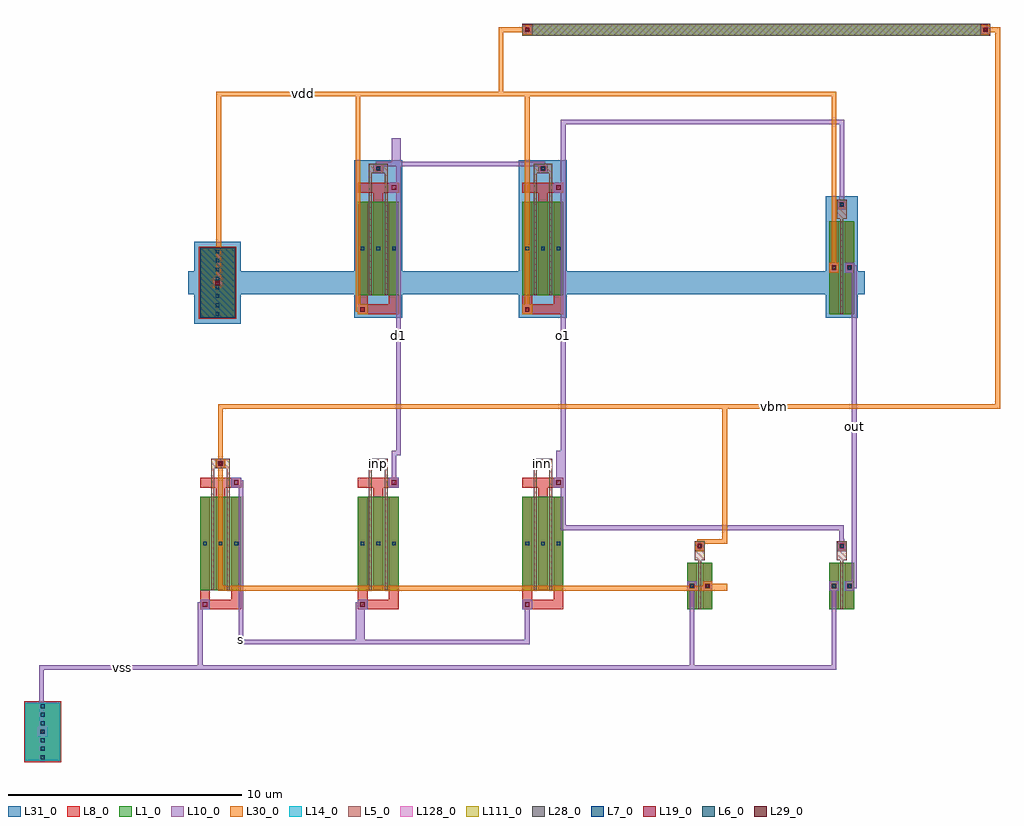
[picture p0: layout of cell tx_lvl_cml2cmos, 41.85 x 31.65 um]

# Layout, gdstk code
import gdstk
lib = gdstk.Library(unit=1e-6, precision=1e-09)
def R(c, l, rs):  # rectangles x0, y0, x1, y1
    for r in rs: c.add(gdstk.rectangle(r[:2], r[2:], *l))
def A(c, l, x, y, w, h, nx, ny, dx, dy):  # array of equal rectangles
    R(c, l, [(x+i*dx, y+j*dy, x+i*dx+w, y+j*dy+h) for i in range(nx) for j in range(ny)])
L1_0 = (1, 0)
L5_0 = (5, 0)
L6_0 = (6, 0)
L7_0 = (7, 0)
L8_0 = (8, 0)
L10_0 = (10, 0)
L14_0 = (14, 0)
L19_0 = (19, 0)
L28_0 = (28, 0)
L29_0 = (29, 0)
L30_0 = (30, 0)
L31_0 = (31, 0)
L111_0 = (111, 0)
L128_0 = (128, 0)

tx_lvl_cml2cmos_xmn1__co = lib.new_cell('tx_lvl_cml2cmos_XMN1__core')
R(tx_lvl_cml2cmos_xmn1__co, L1_0, [(0,0.82,1.76,4.82)])
R(tx_lvl_cml2cmos_xmn1__co, L5_0, [(0.48,0.82,0.61,6.04), (1.15,0.82,1.28,6.04), (0.48,6.04,1.28,6.46)])
A(tx_lvl_cml2cmos_xmn1__co, L6_0, 0.13, 2.74, 0.16, 0.16, 3, 1, 0.67, 0)
R(tx_lvl_cml2cmos_xmn1__co, L6_0, [(0.8,6.17,0.96,6.33)])
A(tx_lvl_cml2cmos_xmn1__co, L8_0, 0, 0.82, 0.42, 4, 3, 1, 0.67, 0)
R(tx_lvl_cml2cmos_xmn1__co, L8_0, [(0,0,1.76,0.42), (0,0.42,0.42,0.82), (1.34,0.42,1.76,0.82), (0.67,4.82,1.09,5.22), (0,5.22,1.76,5.64), (0.67,6.04,1.09,6.46)])

xmn1__tx_lvl_cml2cmos_xm = lib.new_cell('XMN1__tx_lvl_cml2cmos_XMN1')
xmn1__tx_lvl_cml2cmos_xm.add(gdstk.Reference(tx_lvl_cml2cmos_xmn1__co, (0,0)))

tx_lvl_cml2cmos_xmn2__co = lib.new_cell('tx_lvl_cml2cmos_XMN2__core')
R(tx_lvl_cml2cmos_xmn2__co, L1_0, [(0,0.82,1.76,4.82)])
R(tx_lvl_cml2cmos_xmn2__co, L5_0, [(0.48,0.82,0.61,6.04), (1.15,0.82,1.28,6.04), (0.48,6.04,1.28,6.46)])
A(tx_lvl_cml2cmos_xmn2__co, L6_0, 0.13, 2.74, 0.16, 0.16, 3, 1, 0.67, 0)
R(tx_lvl_cml2cmos_xmn2__co, L6_0, [(0.8,6.17,0.96,6.33)])
A(tx_lvl_cml2cmos_xmn2__co, L8_0, 0, 0.82, 0.42, 4, 3, 1, 0.67, 0)
R(tx_lvl_cml2cmos_xmn2__co, L8_0, [(0,0,1.76,0.42), (0,0.42,0.42,0.82), (1.34,0.42,1.76,0.82), (0.67,4.82,1.09,5.22), (0,5.22,1.76,5.64), (0.67,6.04,1.09,6.46)])

xmn2__tx_lvl_cml2cmos_xm = lib.new_cell('XMN2__tx_lvl_cml2cmos_XMN2')
xmn2__tx_lvl_cml2cmos_xm.add(gdstk.Reference(tx_lvl_cml2cmos_xmn2__co, (0,0)))

tx_lvl_cml2cmos_xmp1__co = lib.new_cell('tx_lvl_cml2cmos_XMP1__core')
R(tx_lvl_cml2cmos_xmp1__co, L1_0, [(0,0.82,1.76,4.82)])
R(tx_lvl_cml2cmos_xmp1__co, L5_0, [(0.48,0.82,0.61,6.04), (1.15,0.82,1.28,6.04), (0.48,6.04,1.28,6.46)])
A(tx_lvl_cml2cmos_xmp1__co, L6_0, 0.13, 2.74, 0.16, 0.16, 3, 1, 0.67, 0)
R(tx_lvl_cml2cmos_xmp1__co, L6_0, [(0.8,6.17,0.96,6.33)])
A(tx_lvl_cml2cmos_xmp1__co, L8_0, 0, 0.82, 0.42, 4, 3, 1, 0.67, 0)
R(tx_lvl_cml2cmos_xmp1__co, L8_0, [(0,0,1.76,0.42), (0,0.42,0.42,0.82), (1.34,0.42,1.76,0.82), (0.67,4.82,1.09,5.22), (0,5.22,1.76,5.64), (0.67,6.04,1.09,6.46)])
R(tx_lvl_cml2cmos_xmp1__co, L31_0, [(-0.15,-0.15,1.91,6.61)])

xmp1__tx_lvl_cml2cmos_xm = lib.new_cell('XMP1__tx_lvl_cml2cmos_XMP1')
xmp1__tx_lvl_cml2cmos_xm.add(gdstk.Reference(tx_lvl_cml2cmos_xmp1__co, (0,0)))

tx_lvl_cml2cmos_xmp2__co = lib.new_cell('tx_lvl_cml2cmos_XMP2__core')
R(tx_lvl_cml2cmos_xmp2__co, L1_0, [(0,0.82,1.76,4.82)])
R(tx_lvl_cml2cmos_xmp2__co, L5_0, [(0.48,0.82,0.61,6.04), (1.15,0.82,1.28,6.04), (0.48,6.04,1.28,6.46)])
A(tx_lvl_cml2cmos_xmp2__co, L6_0, 0.13, 2.74, 0.16, 0.16, 3, 1, 0.67, 0)
R(tx_lvl_cml2cmos_xmp2__co, L6_0, [(0.8,6.17,0.96,6.33)])
A(tx_lvl_cml2cmos_xmp2__co, L8_0, 0, 0.82, 0.42, 4, 3, 1, 0.67, 0)
R(tx_lvl_cml2cmos_xmp2__co, L8_0, [(0,0,1.76,0.42), (0,0.42,0.42,0.82), (1.34,0.42,1.76,0.82), (0.67,4.82,1.09,5.22), (0,5.22,1.76,5.64), (0.67,6.04,1.09,6.46)])
R(tx_lvl_cml2cmos_xmp2__co, L31_0, [(-0.15,-0.15,1.91,6.61)])

xmp2__tx_lvl_cml2cmos_xm = lib.new_cell('XMP2__tx_lvl_cml2cmos_XMP2')
xmp2__tx_lvl_cml2cmos_xm.add(gdstk.Reference(tx_lvl_cml2cmos_xmp2__co, (0,0)))

tx_lvl_cml2cmos_xmnt__co = lib.new_cell('tx_lvl_cml2cmos_XMNt__core')
R(tx_lvl_cml2cmos_xmnt__co, L1_0, [(0,0.82,1.76,4.82)])
R(tx_lvl_cml2cmos_xmnt__co, L5_0, [(0.48,0.82,0.61,6.04), (1.15,0.82,1.28,6.04), (0.48,6.04,1.28,6.46)])
A(tx_lvl_cml2cmos_xmnt__co, L6_0, 0.13, 2.74, 0.16, 0.16, 3, 1, 0.67, 0)
R(tx_lvl_cml2cmos_xmnt__co, L6_0, [(0.8,6.17,0.96,6.33)])
A(tx_lvl_cml2cmos_xmnt__co, L8_0, 0, 0.82, 0.42, 4, 3, 1, 0.67, 0)
R(tx_lvl_cml2cmos_xmnt__co, L8_0, [(0,0,1.76,0.42), (0,0.42,0.42,0.82), (1.34,0.42,1.76,0.82), (0.67,4.82,1.09,5.22), (0,5.22,1.76,5.64), (0.67,6.04,1.09,6.46)])

xmnt__tx_lvl_cml2cmos_xm = lib.new_cell('XMNt__tx_lvl_cml2cmos_XMNt')
xmnt__tx_lvl_cml2cmos_xm.add(gdstk.Reference(tx_lvl_cml2cmos_xmnt__co, (0,0)))

tx_lvl_cml2cmos_xmnb__co = lib.new_cell('tx_lvl_cml2cmos_XMNb__core')
R(tx_lvl_cml2cmos_xmnb__co, L1_0, [(0,0,1.09,2)])
R(tx_lvl_cml2cmos_xmnb__co, L5_0, [(0.48,0,0.61,2), (0.48,2,0.61,2.1), (0.335,2.1,0.755,2.92)])
R(tx_lvl_cml2cmos_xmnb__co, L6_0, [(0.13,0.92,0.29,1.08), (0.8,0.92,0.96,1.08), (0.465,2.63,0.625,2.79)])
R(tx_lvl_cml2cmos_xmnb__co, L8_0, [(0,0,0.42,2), (0.67,0,1.09,2), (0.335,2.5,0.755,2.92)])

xmnb__tx_lvl_cml2cmos_xm = lib.new_cell('XMNb__tx_lvl_cml2cmos_XMNb')
xmnb__tx_lvl_cml2cmos_xm.add(gdstk.Reference(tx_lvl_cml2cmos_xmnb__co, (0,0)))

tx_lvl_cml2cmos_xrbm__co = lib.new_cell('tx_lvl_cml2cmos_XRbm__core')
R(tx_lvl_cml2cmos_xrbm__co, L5_0, [(0,0,0.42,0.5), (19.65,0,20.07,0.5)])
R(tx_lvl_cml2cmos_xrbm__co, L6_0, [(0.13,0.17,0.29,0.33), (19.78,0.17,19.94,0.33)])
R(tx_lvl_cml2cmos_xrbm__co, L8_0, [(0,0,0.42,0.5), (19.65,0,20.07,0.5)])
R(tx_lvl_cml2cmos_xrbm__co, L14_0, [(0.42,0,19.65,0.5)])
R(tx_lvl_cml2cmos_xrbm__co, L28_0, [(0.42,0,19.65,0.5)])
R(tx_lvl_cml2cmos_xrbm__co, L111_0, [(0.42,0,19.65,0.5)])
R(tx_lvl_cml2cmos_xrbm__co, L128_0, [(0.42,0,19.65,0.5)])

xrbm__tx_lvl_cml2cmos_xr = lib.new_cell('XRbm__tx_lvl_cml2cmos_XRbm')
xrbm__tx_lvl_cml2cmos_xr.add(gdstk.Reference(tx_lvl_cml2cmos_xrbm__co, (0,0)))

tx_lvl_cml2cmos_xmp3__co = lib.new_cell('tx_lvl_cml2cmos_XMP3__core')
R(tx_lvl_cml2cmos_xmp3__co, L1_0, [(0,0,1.09,4)])
R(tx_lvl_cml2cmos_xmp3__co, L5_0, [(0.48,0,0.61,4), (0.48,4,0.61,4.1), (0.335,4.1,0.755,4.92)])
R(tx_lvl_cml2cmos_xmp3__co, L6_0, [(0.13,1.92,0.29,2.08), (0.8,1.92,0.96,2.08), (0.465,4.63,0.625,4.79)])
R(tx_lvl_cml2cmos_xmp3__co, L8_0, [(0,0,0.42,4), (0.67,0,1.09,4), (0.335,4.5,0.755,4.92)])
R(tx_lvl_cml2cmos_xmp3__co, L31_0, [(-0.15,-0.15,1.24,5.07)])

xmp3__tx_lvl_cml2cmos_xm = lib.new_cell('XMP3__tx_lvl_cml2cmos_XMP3')
xmp3__tx_lvl_cml2cmos_xm.add(gdstk.Reference(tx_lvl_cml2cmos_xmp3__co, (0,0)))

tx_lvl_cml2cmos_xmn3__co = lib.new_cell('tx_lvl_cml2cmos_XMN3__core')
R(tx_lvl_cml2cmos_xmn3__co, L1_0, [(0,0,1.09,2)])
R(tx_lvl_cml2cmos_xmn3__co, L5_0, [(0.48,0,0.61,2), (0.48,2,0.61,2.1), (0.335,2.1,0.755,2.92)])
R(tx_lvl_cml2cmos_xmn3__co, L6_0, [(0.13,0.92,0.29,1.08), (0.8,0.92,0.96,1.08), (0.465,2.63,0.625,2.79)])
R(tx_lvl_cml2cmos_xmn3__co, L8_0, [(0,0,0.42,2), (0.67,0,1.09,2), (0.335,2.5,0.755,2.92)])

xmn3__tx_lvl_cml2cmos_xm = lib.new_cell('XMN3__tx_lvl_cml2cmos_XMN3')
xmn3__tx_lvl_cml2cmos_xm.add(gdstk.Reference(tx_lvl_cml2cmos_xmn3__co, (0,0)))

tie_vdd__tx_lvl_cml2cmos = lib.new_cell('TIE_VDD__tx_lvl_cml2cmos_tie_vdd')
R(tie_vdd__tx_lvl_cml2cmos, L1_0, [(0,0,1.5,3)])
A(tie_vdd__tx_lvl_cml2cmos, L6_0, 0.67, 0.85, 0.16, 0.16, 1, 4, 0, 0.38)
R(tie_vdd__tx_lvl_cml2cmos, L6_0, [(0.67,0.08,0.83,0.24), (0.67,0.46,0.83,0.62), (0.67,2.38,0.83,2.54), (0.67,2.76,0.83,2.92)])
R(tie_vdd__tx_lvl_cml2cmos, L7_0, [(0,0,1.5,3)])
R(tie_vdd__tx_lvl_cml2cmos, L8_0, [(-0.05,-0.05,1.55,3.05)])
R(tie_vdd__tx_lvl_cml2cmos, L31_0, [(-0.25,-0.25,1.75,3.25)])
tie_vdd__tx_lvl_cml2cmos.add(gdstk.Label('vdd', (0.75,1.5), layer=8, texttype=25))

tie_vss__tx_lvl_cml2cmos = lib.new_cell('TIE_VSS__tx_lvl_cml2cmos_tie_vss')
R(tie_vss__tx_lvl_cml2cmos, L1_0, [(0,0,1.5,2.5)])
A(tie_vss__tx_lvl_cml2cmos, L6_0, 0.67, 0.81, 0.16, 0.16, 1, 3, 0, 0.36)
R(tie_vss__tx_lvl_cml2cmos, L6_0, [(0.67,0.08,0.83,0.24), (0.67,0.44,0.83,0.6), (0.67,1.9,0.83,2.06), (0.67,2.26,0.83,2.42)])
R(tie_vss__tx_lvl_cml2cmos, L8_0, [(-0.05,-0.05,1.55,2.55)])
R(tie_vss__tx_lvl_cml2cmos, L14_0, [(0,0,1.5,2.5)])
tie_vss__tx_lvl_cml2cmos.add(gdstk.Label('vss', (0.75,1.25), layer=8, texttype=25))

tx_lvl_cml2cmos = lib.new_cell('tx_lvl_cml2cmos')
R(tx_lvl_cml2cmos, L8_0, [(1.04,-5.46,1.46,-5.04), (8,0,8.42,0.42), (8,0,8.42,0.42), (8,0,8.42,0.42), (14.76,0,15.18,0.42), (14.76,0,15.18,0.42), (21.82,0,22.24,0.42), (28.88,0.79,29.3,1.21), (29.55,0.79,29.97,1.21), (34.97,0.79,35.39,1.21), (35.64,0.79,36.06,1.21), (29.215,2.5,29.635,2.92), (35.305,2.5,35.725,2.92), (9.34,5.22,9.76,5.64), (16.1,5.22,16.52,5.64), (23.16,5.22,23.58,5.64), (8.67,6.04,9.09,6.46), (8.67,6.04,9.09,6.46), (8.67,6.04,9.09,6.46), (14.76,12.65,15.18,13.07), (14.76,12.65,15.18,13.07), (14.76,12.65,15.18,13.07), (14.76,12.65,15.18,13.07), (21.82,12.65,22.24,13.07), (8.54,13.79,8.96,14.21), (34.97,14.44,35.39,14.86), (35.64,14.44,36.06,14.86), (35.305,17.15,35.725,17.57), (16.1,17.87,16.52,18.29), (16.1,17.87,16.52,18.29), (16.1,17.87,16.52,18.29), (23.16,17.87,23.58,18.29), (23.16,17.87,23.58,18.29), (23.16,17.87,23.58,18.29), (15.43,18.69,15.85,19.11), (22.49,18.69,22.91,19.11), (21.82,24.64,22.24,25.06), (41.47,24.64,41.89,25.06)])
R(tx_lvl_cml2cmos, L10_0, [(1.04,-5.46,1.46,-5.04), (8,0,8.42,0.42), (8,0,8.42,0.42), (8,0,8.42,0.42), (14.76,0,15.18,0.42), (14.76,0,15.18,0.42), (21.82,0,22.24,0.42), (28.88,0.79,29.3,1.21), (29.55,0.79,29.97,1.21), (29.55,0.79,29.97,1.21), (34.97,0.79,35.39,1.21), (35.64,0.79,36.06,1.21), (29.215,2.5,29.635,2.92), (29.215,2.5,29.635,2.92), (35.305,2.5,35.725,2.92), (9.34,5.22,9.76,5.64), (16.1,5.22,16.52,5.64), (23.16,5.22,23.58,5.64), (8.67,6.04,9.09,6.46), (8.67,6.04,9.09,6.46), (8.67,6.04,9.09,6.46), (8.67,6.04,9.09,6.46), (8.67,6.04,9.09,6.46), (8.67,6.04,9.09,6.46), (14.76,12.65,15.18,13.07), (14.76,12.65,15.18,13.07), (14.76,12.65,15.18,13.07), (14.76,12.65,15.18,13.07), (14.76,12.65,15.18,13.07), (14.76,12.65,15.18,13.07), (14.76,12.65,15.18,13.07), (14.76,12.65,15.18,13.07), (21.82,12.65,22.24,13.07), (21.82,12.65,22.24,13.07), (8.54,13.79,8.96,14.21), (8.54,13.79,8.96,14.21), (34.97,14.44,35.39,14.86), (34.97,14.44,35.39,14.86), (35.64,14.44,36.06,14.86), (35.305,17.15,35.725,17.57), (16.1,17.87,16.52,18.29), (16.1,17.87,16.52,18.29), (16.1,17.87,16.52,18.29), (23.16,17.87,23.58,18.29), (23.16,17.87,23.58,18.29), (23.16,17.87,23.58,18.29), (15.43,18.69,15.85,19.11), (22.49,18.69,22.91,19.11), (21.82,24.64,22.24,25.06), (21.82,24.64,22.24,25.06), (41.47,24.64,41.89,25.06), (41.47,24.64,41.89,25.06)])
R(tx_lvl_cml2cmos, L19_0, [(1.155,-5.345,1.345,-5.155), (8.115,0.115,8.305,0.305), (8.115,0.115,8.305,0.305), (8.115,0.115,8.305,0.305), (14.875,0.115,15.065,0.305), (14.875,0.115,15.065,0.305), (21.935,0.115,22.125,0.305), (28.995,0.905,29.185,1.095), (29.665,0.905,29.855,1.095), (35.085,0.905,35.275,1.095), (35.755,0.905,35.945,1.095), (29.33,2.615,29.52,2.805), (35.42,2.615,35.61,2.805), (9.455,5.335,9.645,5.525), (16.215,5.335,16.405,5.525), (23.275,5.335,23.465,5.525), (8.785,6.155,8.975,6.345), (8.785,6.155,8.975,6.345), (8.785,6.155,8.975,6.345), (14.875,12.765,15.065,12.955), (14.875,12.765,15.065,12.955), (14.875,12.765,15.065,12.955), (14.875,12.765,15.065,12.955), (21.935,12.765,22.125,12.955), (8.655,13.905,8.845,14.095), (35.085,14.555,35.275,14.745), (35.755,14.555,35.945,14.745), (35.42,17.265,35.61,17.455), (16.215,17.985,16.405,18.175), (16.215,17.985,16.405,18.175), (16.215,17.985,16.405,18.175), (23.275,17.985,23.465,18.175), (23.275,17.985,23.465,18.175), (23.275,17.985,23.465,18.175), (15.545,18.805,15.735,18.995), (22.605,18.805,22.795,18.995), (21.935,24.755,22.125,24.945), (41.585,24.755,41.775,24.945)])
R(tx_lvl_cml2cmos, L29_0, [(29.665,0.905,29.855,1.095), (29.33,2.615,29.52,2.805), (8.785,6.155,8.975,6.345), (8.785,6.155,8.975,6.345), (8.785,6.155,8.975,6.345), (14.875,12.765,15.065,12.955), (14.875,12.765,15.065,12.955), (14.875,12.765,15.065,12.955), (14.875,12.765,15.065,12.955), (21.935,12.765,22.125,12.955), (8.655,13.905,8.845,14.095), (35.085,14.555,35.275,14.745), (21.935,24.755,22.125,24.945), (41.585,24.755,41.775,24.945)])
R(tx_lvl_cml2cmos, L30_0, [(29.55,0.79,29.97,1.21), (29.215,2.5,29.635,2.92), (8.67,6.04,9.09,6.46), (8.67,6.04,9.09,6.46), (8.67,6.04,9.09,6.46), (14.76,12.65,15.18,13.07), (14.76,12.65,15.18,13.07), (14.76,12.65,15.18,13.07), (14.76,12.65,15.18,13.07), (21.82,12.65,22.24,13.07), (8.54,13.79,8.96,14.21), (34.97,14.44,35.39,14.86), (21.82,24.64,22.24,25.06), (41.47,24.64,41.89,25.06)])
R(tx_lvl_cml2cmos, L31_0, [(7.5,13.5,36.5,14.5)])
tx_lvl_cml2cmos.add(gdstk.FlexPath([(1.25,-5.25),(1.25,-5.05),(1.2,-5.05),(1.2,-2.5),(8.01,-2.5),(8.01,0.21),(8.21,0.21)], 0.2, ends="flush", simple_path=True, layer=10, datatype=0))  # L10_0
tx_lvl_cml2cmos.add(gdstk.FlexPath([(29.09,1),(29.09,-2.5),(8.01,-2.5),(8.01,0.21),(8.21,0.21)], 0.2, ends="flush", simple_path=True, layer=10, datatype=0))  # L10_0
tx_lvl_cml2cmos.add(gdstk.FlexPath([(35.18,1),(35.18,-2.5),(8.01,-2.5),(8.01,0.21),(8.21,0.21)], 0.2, ends="flush", simple_path=True, layer=10, datatype=0))  # L10_0
tx_lvl_cml2cmos.add(gdstk.FlexPath([(14.97,0.21),(14.97,-1.4),(9.75,-1.4),(9.75,5.43),(9.55,5.43)], 0.2, ends="flush", simple_path=True, layer=10, datatype=0))  # L10_0
tx_lvl_cml2cmos.add(gdstk.FlexPath([(22.03,0.21),(22.03,-1.4),(14.77,-1.4),(14.77,0.21),(14.97,0.21)], 0.2, ends="flush", simple_path=True, layer=10, datatype=0))  # L10_0
tx_lvl_cml2cmos.add(gdstk.FlexPath([(16.31,5.43),(16.31,6.7),(16.51,6.7),(16.51,18.08),(16.31,18.08)], 0.2, ends="flush", simple_path=True, layer=10, datatype=0))  # L10_0
tx_lvl_cml2cmos.add(gdstk.FlexPath([(15.64,18.9),(15.64,19.1),(16.31,19.1),(16.31,20.1),(16.51,20.1),(16.51,18.08),(16.31,18.08)], 0.2, ends="flush", simple_path=True, layer=10, datatype=0))  # L10_0
tx_lvl_cml2cmos.add(gdstk.FlexPath([(22.7,18.9),(22.7,19.1),(16.31,19.1),(16.31,20.1),(16.51,20.1),(16.51,18.08),(16.31,18.08)], 0.2, ends="flush", simple_path=True, layer=10, datatype=0))  # L10_0
tx_lvl_cml2cmos.add(gdstk.FlexPath([(23.37,5.43),(23.37,6.7),(23.57,6.7),(23.57,18.08),(23.37,18.08)], 0.2, ends="flush", simple_path=True, layer=10, datatype=0))  # L10_0
tx_lvl_cml2cmos.add(gdstk.FlexPath([(35.515,2.71),(35.515,2.91),(35.5,2.91),(35.5,3.5),(23.57,3.5),(23.57,18.08),(23.37,18.08)], 0.2, ends="flush", simple_path=True, layer=10, datatype=0))  # L10_0
tx_lvl_cml2cmos.add(gdstk.FlexPath([(35.515,17.36),(35.515,17.56),(35.52,17.56),(35.52,20.9),(23.57,20.9),(23.57,18.08),(23.37,18.08)], 0.2, ends="flush", simple_path=True, layer=10, datatype=0))  # L10_0
tx_lvl_cml2cmos.add(gdstk.FlexPath([(35.85,14.65),(36.05,14.65),(36.05,1),(35.85,1)], 0.2, ends="flush", simple_path=True, layer=10, datatype=0))  # L10_0
tx_lvl_cml2cmos.add(gdstk.FlexPath([(8.75,14),(8.75,14.2),(8.8,14.2),(8.8,22.1),(14.77,22.1),(14.77,12.86),(14.97,12.86)], 0.2, ends="flush", simple_path=True, layer=30, datatype=0))  # L30_0
tx_lvl_cml2cmos.add(gdstk.FlexPath([(22.03,12.86),(22.03,22.1),(14.77,22.1),(14.77,12.86),(14.97,12.86)], 0.2, ends="flush", simple_path=True, layer=30, datatype=0))  # L30_0
tx_lvl_cml2cmos.add(gdstk.FlexPath([(35.18,14.65),(35.18,22.1),(14.77,22.1),(14.77,12.86),(14.97,12.86)], 0.2, ends="flush", simple_path=True, layer=30, datatype=0))  # L30_0
tx_lvl_cml2cmos.add(gdstk.FlexPath([(22.03,24.85),(20.9,24.85),(20.9,22.1),(14.77,22.1),(14.77,12.86),(14.97,12.86)], 0.2, ends="flush", simple_path=True, layer=30, datatype=0))  # L30_0
tx_lvl_cml2cmos.add(gdstk.FlexPath([(41.68,24.85),(42.2,24.85),(42.2,8.7),(8.88,8.7),(8.88,6.25)], 0.2, ends="flush", simple_path=True, layer=30, datatype=0))  # L30_0
tx_lvl_cml2cmos.add(gdstk.FlexPath([(29.425,2.71),(29.425,2.91),(30.5,2.91),(30.5,8.7),(8.88,8.7),(8.88,6.25)], 0.2, ends="flush", simple_path=True, layer=30, datatype=0))  # L30_0
tx_lvl_cml2cmos.add(gdstk.FlexPath([(29.76,1),(30.5,1),(30.5,0.9),(8.88,0.9),(8.88,6.25)], 0.2, ends="flush", simple_path=True, layer=30, datatype=0))  # L30_0
tx_lvl_cml2cmos.add(gdstk.Reference(xmn1__tx_lvl_cml2cmos_xm, (14.76,0)))
tx_lvl_cml2cmos.add(gdstk.Reference(xmn2__tx_lvl_cml2cmos_xm, (21.82,0)))
tx_lvl_cml2cmos.add(gdstk.Reference(xmp1__tx_lvl_cml2cmos_xm, (14.76,12.65)))
tx_lvl_cml2cmos.add(gdstk.Reference(xmp2__tx_lvl_cml2cmos_xm, (21.82,12.65)))
tx_lvl_cml2cmos.add(gdstk.Reference(xmnt__tx_lvl_cml2cmos_xm, (8,0)))
tx_lvl_cml2cmos.add(gdstk.Reference(xmnb__tx_lvl_cml2cmos_xm, (28.88,0)))
tx_lvl_cml2cmos.add(gdstk.Reference(xrbm__tx_lvl_cml2cmos_xr, (21.82,24.6)))
tx_lvl_cml2cmos.add(gdstk.Reference(xmp3__tx_lvl_cml2cmos_xm, (34.97,12.65)))
tx_lvl_cml2cmos.add(gdstk.Reference(xmn3__tx_lvl_cml2cmos_xm, (34.97,0)))
tx_lvl_cml2cmos.add(gdstk.Reference(tie_vdd__tx_lvl_cml2cmos, (8,12.5)))
tx_lvl_cml2cmos.add(gdstk.Reference(tie_vss__tx_lvl_cml2cmos, (0.5,-6.5)))
tx_lvl_cml2cmos.add(gdstk.Label('vss', (4.66,-2.5), layer=10, texttype=25))
tx_lvl_cml2cmos.add(gdstk.Label('s', (9.75,-1.3), layer=10, texttype=25))
tx_lvl_cml2cmos.add(gdstk.Label('d1', (16.51,11.755), layer=10, texttype=25))
tx_lvl_cml2cmos.add(gdstk.Label('o1', (23.57,11.755), layer=10, texttype=25))
tx_lvl_cml2cmos.add(gdstk.Label('out', (36.05,7.825), layer=10, texttype=25))
tx_lvl_cml2cmos.add(gdstk.Label('inp', (15.64,6.25), layer=8, texttype=25))
tx_lvl_cml2cmos.add(gdstk.Label('inn', (22.7,6.25), layer=8, texttype=25))
tx_lvl_cml2cmos.add(gdstk.Label('vdd', (12.43,22.1), layer=30, texttype=25))
tx_lvl_cml2cmos.add(gdstk.Label('vbm', (32.65,8.7), layer=30, texttype=25))

lib.write_gds('tx_lvl_cml2cmos.gds')
